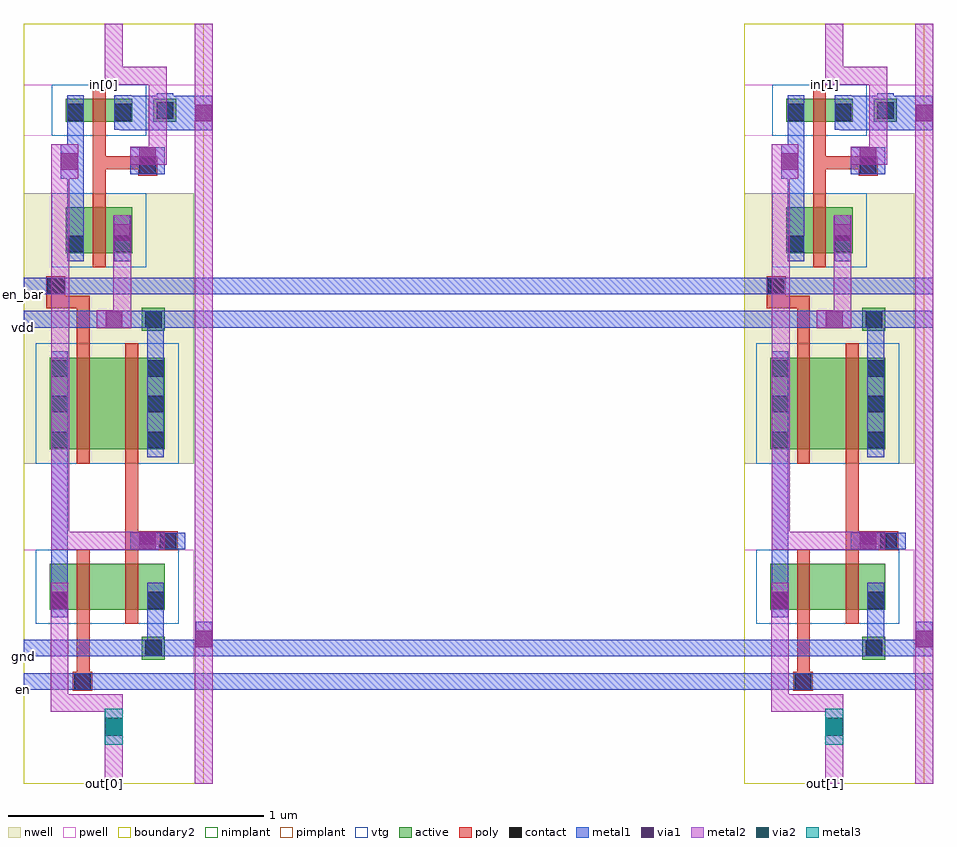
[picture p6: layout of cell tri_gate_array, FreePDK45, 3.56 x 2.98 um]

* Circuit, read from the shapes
.subckt tri_gate_array en en_bar gnd in[0] in[1] out[0] out[1] vdd
M1 n1 en out[0] gnd nfet w=0.18u l=0.05u
M2 gnd in[0] n2 gnd nfet w=0.09u l=0.05u
M3 gnd n2 n1 gnd nfet w=0.18u l=0.05u
M4 n3 en out[1] gnd nfet w=0.18u l=0.05u
M5 gnd in[1] n4 gnd nfet w=0.09u l=0.05u
M6 gnd n4 n3 gnd nfet w=0.18u l=0.05u
M7 n5 en_bar out[0] vdd pfet w=0.36u l=0.05u
M8 vdd in[0] n2 vdd pfet w=0.18u l=0.05u
M9 vdd n2 n5 vdd pfet w=0.36u l=0.05u
M10 n6 en_bar out[1] vdd pfet w=0.36u l=0.05u
M11 vdd in[1] n4 vdd pfet w=0.18u l=0.05u
M12 vdd n4 n6 vdd pfet w=0.36u l=0.05u
.ends

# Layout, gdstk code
import gdstk
lib = gdstk.Library(unit=1e-6, precision=5e-10)
def R(c, l, rs):  # rectangles x0, y0, x1, y1
    for r in rs: c.add(gdstk.rectangle(r[:2], r[2:], *l))
def A(c, l, x, y, w, h, nx, ny, dx, dy):  # array of equal rectangles
    R(c, l, [(x+i*dx, y+j*dy, x+i*dx+w, y+j*dy+h) for i in range(nx) for j in range(ny)])
active = (1, 0)
pwell = (2, 0)
nwell = (3, 0)
nimplant = (4, 0)
pimplant = (5, 0)
vtg = (6, 0)
poly = (9, 0)
contact = (10, 0)
metal1 = (11, 0)
via1 = (12, 0)
metal2 = (13, 0)
via2 = (14, 0)
metal3 = (15, 0)
boundary2 = (239, 0)

m2_m1_0 = lib.new_cell('M2_M1_0')
R(m2_m1_0, metal1, [(-0.0325,-0.0675,0.0325,0.0675)])
R(m2_m1_0, via1, [(-0.0325,-0.0325,0.0325,0.0325)])
R(m2_m1_0, metal2, [(-0.035,-0.0675,0.035,0.0675)])

tri_gate = lib.new_cell('tri_gate')
R(tri_gate, active, [(0.4625,0.485,0.5525,0.575), (0.1025,0.68,0.1775,0.86), (0.1025,0.68,0.1775,0.86), (0.1025,0.68,0.5525,0.86), (0.1025,0.68,0.1775,0.755), (0.255,0.68,0.395,0.86), (0.4775,0.68,0.5525,0.86), (0.4775,0.68,0.5525,0.86), (0.4775,0.68,0.5525,0.755), (0.1025,1.3075,0.1775,1.6675), (0.1025,1.3075,0.1775,1.6675), (0.1025,1.3075,0.5525,1.6675), (0.1025,1.3075,0.1775,1.6625), (0.255,1.3075,0.395,1.6675), (0.4775,1.3075,0.5525,1.6675), (0.4775,1.3075,0.5525,1.6675), (0.4775,1.3075,0.5525,1.6625), (0.4625,1.7725,0.5525,1.8625), (0.165,2.075,0.24,2.255), (0.165,2.075,0.24,2.255), (0.165,2.075,0.24,2.15), (0.165,2.075,0.425,2.255), (0.35,2.075,0.425,2.255), (0.35,2.075,0.425,2.255), (0.35,2.075,0.425,2.15), (0.165,2.59,0.24,2.665), (0.165,2.59,0.24,2.68), (0.165,2.59,0.24,2.68), (0.165,2.59,0.425,2.68), (0.35,2.59,0.425,2.665), (0.35,2.59,0.425,2.68), (0.35,2.59,0.425,2.68), (0.5075,2.59,0.5975,2.68)])
R(tri_gate, pwell, [(0,0.43,0.665,0.915), (0.4075,0.43,0.6075,0.63), (0.0475,0.625,0.6075,0.915), (0,2.535,0.74,2.735), (0.11,2.535,0.48,2.735), (0.4525,2.535,0.6525,2.735)])
R(tri_gate, nwell, [(0,1.2525,0.665,2.31), (0.0475,1.2525,0.6075,1.7225), (0.4075,1.7175,0.6075,1.9175), (0.11,2.02,0.48,2.31)])
R(tri_gate, nimplant, [(0.1025,0.68,0.5525,0.86), (0.4625,1.7725,0.5525,1.8625), (0.165,2.59,0.425,2.68)])
R(tri_gate, pimplant, [(0.4625,0.485,0.5525,0.575), (0.1025,1.3075,0.5525,1.6675), (0.165,2.075,0.425,2.255), (0.5075,2.59,0.5975,2.68)])
R(tri_gate, vtg, [(0.0475,0.625,0.6075,0.915), (0.0475,1.2525,0.6075,1.7225), (0.11,2.02,0.48,2.31), (0.11,2.535,0.48,2.735)])
R(tri_gate, poly, [(0.1925,0.3625,0.2675,0.4375), (0.2075,0.4375,0.2575,0.625), (0.2075,0.625,0.2575,0.68), (0.2075,0.625,0.2575,0.915), (0.3975,0.625,0.4475,0.68), (0.3975,0.625,0.4475,0.915), (0.2075,0.86,0.2575,0.915), (0.3975,0.86,0.4475,0.915), (0.5275,0.9125,0.6025,0.9875), (0.3975,0.915,0.4475,1.2525), (0.4475,0.9375,0.5275,0.9875), (0.2075,1.2525,0.2575,1.7225), (0.2075,1.2525,0.2575,1.3075), (0.3975,1.2525,0.4475,1.7225), (0.3975,1.2525,0.4475,1.3075), (0.2075,1.6675,0.2575,1.7225), (0.3975,1.6675,0.4475,1.7225), (0.2075,1.7225,0.2575,1.91), (0.0875,1.86,0.2075,1.91), (0.0875,1.91,0.1625,1.985), (0.27,2.02,0.32,2.075), (0.27,2.02,0.32,2.31), (0.27,2.255,0.32,2.31), (0.27,2.31,0.32,2.535), (0.4475,2.38,0.5225,2.455), (0.32,2.405,0.5225,2.455), (0.27,2.535,0.32,2.59), (0.27,2.535,0.32,2.735), (0.27,2.68,0.32,2.735)])
A(tri_gate, contact, 0.1075, 1.3125, 0.065, 0.065, 1, 3, 0, 0.14)
A(tri_gate, contact, 0.4825, 1.3125, 0.065, 0.065, 1, 3, 0, 0.14)
R(tri_gate, contact, [(0.1975,0.3675,0.2625,0.4325), (0.475,0.4975,0.54,0.5625), (0.1075,0.685,0.1725,0.75), (0.4825,0.685,0.5475,0.75), (0.5325,0.9175,0.5975,0.9825), (0.475,1.785,0.54,1.85), (0.0925,1.915,0.1575,1.98), (0.17,2.08,0.235,2.145), (0.355,2.08,0.42,2.145), (0.4525,2.385,0.5175,2.45), (0.17,2.595,0.235,2.66), (0.355,2.595,0.42,2.66), (0.52,2.6025,0.585,2.6675)])
R(tri_gate, metal1, [(0,0.3675,0.74,0.4325), (0,0.3675,0.74,0.4325), (0.1625,0.3675,0.2975,0.4325), (0.325,0.3675,0.3825,0.4325), (0,0.4975,0.74,0.5625), (0,0.4975,0.74,0.5625), (0.44,0.4975,0.575,0.5625), (0.6725,0.4975,0.7375,0.6325), (0.4825,0.5625,0.5475,0.65), (0.1075,0.65,0.1725,0.785), (0.4825,0.65,0.5475,0.785), (0.1075,0.7625,0.1725,1.2775), (0.4175,0.9175,0.5525,0.9825), (0.4975,0.9175,0.6325,0.9825), (0.1075,1.2775,0.1725,1.6925), (0.4825,1.2775,0.5475,1.6925), (0.4825,1.6925,0.5475,1.785), (0,1.785,0.74,1.85), (0,1.785,0.74,1.85), (0.1425,1.785,0.2075,1.85), (0.285,1.785,0.42,1.85), (0.44,1.785,0.575,1.85), (0,1.915,0.74,1.98), (0,1.915,0.74,1.98), (0.0575,1.915,0.1925,1.98), (0.2775,1.915,0.34,1.98), (0.17,2.045,0.235,2.18), (0.355,2.045,0.42,2.18), (0.3525,2.09,0.4175,2.225), (0.17,2.175,0.235,2.695), (0.145,2.3675,0.21,2.5025), (0.4175,2.385,0.5525,2.45), (0.4175,2.425,0.5525,2.49), (0.375,2.5575,0.6725,2.6925), (0.6725,2.5575,0.7375,2.6925), (0.17,2.56,0.235,2.695), (0.355,2.56,0.42,2.695), (0.52,2.5675,0.585,2.7025)])
R(tri_gate, via1, [(0.6725,0.5325,0.7375,0.5975), (0.4525,0.9175,0.5175,0.9825), (0.32,1.785,0.385,1.85), (0.3525,2.125,0.4175,2.19), (0.145,2.4025,0.21,2.4675), (0.4525,2.425,0.5175,2.49), (0.6725,2.5925,0.7375,2.6575)])
R(tri_gate, metal2, [(0.3175,0,0.3875,0.35), (0.3175,0,0.3875,0.35), (0.67,0,0.74,2.975), (0.67,0,0.74,2.975), (0.3175,0.1525,0.3875,0.2925), (0.3175,0.155,0.3875,0.2175), (0.105,0.28,0.175,0.65), (0.105,0.28,0.3175,0.35), (0.67,0.4975,0.74,0.6325), (0.67,0.5725,0.74,0.63), (0.1075,0.915,0.1775,2.5025), (0.1775,0.915,0.4175,0.985), (0.4175,0.915,0.5525,0.985), (0.285,1.7825,0.42,1.8525), (0.35,1.8525,0.42,2.09), (0.35,2.09,0.42,2.225), (0.1425,2.3675,0.2125,2.5025), (0.4175,2.4225,0.5525,2.4925), (0.49,2.4225,0.56,2.805), (0.67,2.5575,0.74,2.6925), (0.3175,2.735,0.3875,2.975), (0.3175,2.735,0.3875,2.975), (0.3875,2.735,0.49,2.805), (0.3175,2.9175,0.3875,2.97)])
R(tri_gate, via2, [(0.3175,0.1875,0.3875,0.2575)])
R(tri_gate, metal3, [(0.3175,0.1525,0.3875,0.2925)])
R(tri_gate, boundary2, [(0,0,0.705,2.975)])
tri_gate.add(gdstk.Reference(m2_m1_0, (0.14,0.7175)))
tri_gate.add(gdstk.Label('gnd', (0.695,0.605), layer=13, texttype=0))
tri_gate.add(gdstk.Label('in', (0.35,2.945), layer=13, texttype=0))
tri_gate.add(gdstk.Label('out', (0.3525,0.1775), layer=13, texttype=0))
tri_gate.add(gdstk.Label('gnd', (0.2975,0.5475), layer=11, texttype=0))
tri_gate.add(gdstk.Label('vdd', (0.1775,1.8225), layer=11, texttype=0))
tri_gate.add(gdstk.Label('en_bar', (0.3075,1.95), layer=11, texttype=0))
tri_gate.add(gdstk.Label('en', (0.3525,0.395), layer=11, texttype=0))
tri_gate.add(gdstk.Label('en', (0,0.3675), layer=11, texttype=0))
tri_gate.add(gdstk.Label('vdd', (0,1.785), layer=11, texttype=0))
tri_gate.add(gdstk.Label('gnd', (0.67,0), layer=13, texttype=0))
tri_gate.add(gdstk.Label('gnd', (0,0.4975), layer=11, texttype=0))
tri_gate.add(gdstk.Label('in', (0.3175,2.735), layer=13, texttype=0))
tri_gate.add(gdstk.Label('en_bar', (0,1.915), layer=11, texttype=0))
tri_gate.add(gdstk.Label('out', (0.3175,0), layer=13, texttype=0))

tri_gate_array = lib.new_cell('tri_gate_array')
R(tri_gate_array, metal1, [(0,0.3675,3.525,0.4325), (0,0.4975,3.525,0.5625), (0,1.785,3.525,1.85), (0,1.915,3.525,1.98)])
R(tri_gate_array, metal2, [(0.3175,0,0.3875,0.35), (3.1375,0,3.2075,0.35), (0.3175,2.735,0.3875,2.975), (3.1375,2.735,3.2075,2.975)])
tri_gate_array.add(gdstk.Reference(tri_gate, (0,0)))
tri_gate_array.add(gdstk.Reference(tri_gate, (2.82,0)))
tri_gate_array.add(gdstk.Label('en', (0,0.3675), layer=11, texttype=0))
tri_gate_array.add(gdstk.Label('in[0]', (0.3175,2.735), layer=13, texttype=0))
tri_gate_array.add(gdstk.Label('out[0]', (0.3175,0), layer=13, texttype=0))
tri_gate_array.add(gdstk.Label('out[1]', (3.1375,0), layer=13, texttype=0))
tri_gate_array.add(gdstk.Label('vdd', (0,1.785), layer=11, texttype=0))
tri_gate_array.add(gdstk.Label('gnd', (0,0.4975), layer=11, texttype=0))
tri_gate_array.add(gdstk.Label('in[1]', (3.1375,2.735), layer=13, texttype=0))
tri_gate_array.add(gdstk.Label('en_bar', (0,1.915), layer=11, texttype=0))

lib.write_gds('tri_gate_array.gds')
